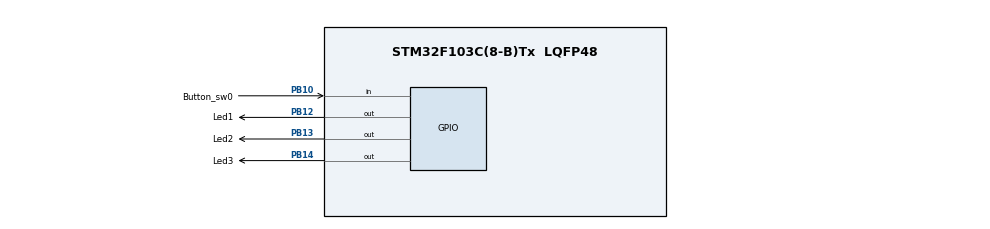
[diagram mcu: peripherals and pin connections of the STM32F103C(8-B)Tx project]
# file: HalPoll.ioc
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Mcu.Family=STM32F1
Mcu.Name=STM32F103C(8-B)Tx
Mcu.Package=LQFP48
NVIC.PriorityGroup=NVIC_PRIORITYGROUP_4
PA13.Mode=Serial_Wire
PA13.Signal=SYS_JTMS-SWDIO
PA14.Mode=Serial_Wire
PA14.Signal=SYS_JTCK-SWCLK
PB10.GPIO_Label=Button_sw0
PB10.GPIO_PuPd=GPIO_NOPULL
PB10.Signal=GPIO_Input
PB12.GPIO_Label=Led1
PB12.Signal=GPIO_Output
PB13.GPIO_Label=Led2
PB13.Signal=GPIO_Output
PB14.GPIO_Label=Led3
PB14.Signal=GPIO_Output
ProjectManager.HeapSize=0x200
ProjectManager.StackSize=0x400
ProjectManager.TargetToolchain=Makefile
RCC.APB1Freq_Value=8000000
RCC.APB2Freq_Value=8000000
board=custom

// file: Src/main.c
/* USER CODE BEGIN Header */
/**
  ******************************************************************************
  * @file           : main.c
  * @brief          : Main program body
  ******************************************************************************
  * @attention
  *
  * <h2><center>&copy; Copyright (c) 2020 STMicroelectronics.
  * All rights reserved.</center></h2>
  *
  * This software component is licensed by ST under BSD 3-Clause license,
  * the "License"; You may not use this file except in compliance with the
  * License. You may obtain a copy of the License at:
  *                        opensource.org/licenses/BSD-3-Clause
  *
  ******************************************************************************
  */
/* USER CODE END Header */

#include "main.h"

void SystemClock_Config(void);
static void MX_GPIO_Init(void);
/* USER CODE BEGIN PFP */
void setLed(int pin);
/* USER CODE END PFP */

int main(void)
{

  /* MCU Configuration--------------------------------------------------------*/

  /* Reset of all peripherals, Initializes the Flash interface and the Systick. */
  HAL_Init();

  /* Configure the system clock */
  SystemClock_Config();

  /* Initialize all configured peripherals */
  MX_GPIO_Init();

  int pinNum=0;
  /* Infinite loop */
  /* USER CODE BEGIN WHILE */
//  HAL_GPIO_WritePin(GPIOB, Led1_Pin|Led3_Pin, GPIO_PIN_RESET);
//  GPIOB->BRR |= Led1_Pin|Led2_Pin|Led3_Pin;
  while (1)
  {
   /* USER CODE END WHILE */
    int pinVal = HAL_GPIO_ReadPin(Button_sw0_GPIO_Port,Button_sw0_Pin);
    HAL_Delay(200);
    if (pinVal == 1 )
    {
      //Sleep a few msecs, quick and dirty debounce
      switch (pinNum)
      {
        case 0:
          setLed(0);
          pinNum++;
          HAL_Delay(200);
          break;
        case 1:
          setLed(1);
          pinNum++;
          HAL_Delay(200);
          break;
        case 2:
          setLed(2);
          pinNum++;
          HAL_Delay(200);
          break;
        case 3:
          setLed(3);
          pinNum=0;
          break;
        default:
          setLed(0);
          pinNum=0;
          break;
      }
    }
  }
}

void SystemClock_Config(void)
{
  RCC_OscInitTypeDef RCC_OscInitStruct = {0};
  RCC_ClkInitTypeDef RCC_ClkInitStruct = {0};

  /** Initializes the CPU, AHB and APB busses clocks
  */
  RCC_OscInitStruct.OscillatorType = RCC_OSCILLATORTYPE_HSI;
  RCC_OscInitStruct.HSIState = RCC_HSI_ON;
  RCC_OscInitStruct.HSICalibrationValue = RCC_HSICALIBRATION_DEFAULT;
  RCC_OscInitStruct.PLL.PLLState = RCC_PLL_NONE;
  if (HAL_RCC_OscConfig(&RCC_OscInitStruct) != HAL_OK)
  {
    Error_Handler();
  }
  /** Initializes the CPU, AHB and APB busses clocks
  */
  RCC_ClkInitStruct.ClockType = RCC_CLOCKTYPE_HCLK|RCC_CLOCKTYPE_SYSCLK
                              |RCC_CLOCKTYPE_PCLK1|RCC_CLOCKTYPE_PCLK2;
  RCC_ClkInitStruct.SYSCLKSource = RCC_SYSCLKSOURCE_HSI;
  RCC_ClkInitStruct.AHBCLKDivider = RCC_SYSCLK_DIV1;
  RCC_ClkInitStruct.APB1CLKDivider = RCC_HCLK_DIV1;
  RCC_ClkInitStruct.APB2CLKDivider = RCC_HCLK_DIV1;

  if (HAL_RCC_ClockConfig(&RCC_ClkInitStruct, FLASH_LATENCY_0) != HAL_OK)
  {
    Error_Handler();
  }
}

static void MX_GPIO_Init(void)
{
  GPIO_InitTypeDef GPIO_InitStruct = {0};

  /* GPIO Ports Clock Enable */
  __HAL_RCC_GPIOB_CLK_ENABLE();
  __HAL_RCC_GPIOA_CLK_ENABLE();

  /*Configure GPIO pin Output Level */
  HAL_GPIO_WritePin(GPIOB, Led1_Pin|Led3_Pin, GPIO_PIN_SET);
  HAL_GPIO_WritePin(GPIOB, Led2_Pin, GPIO_PIN_RESET);

  /*Configure GPIO pin : Button_sw0_Pin */
  GPIO_InitStruct.Pin = Button_sw0_Pin;
  GPIO_InitStruct.Mode = GPIO_MODE_INPUT;
  GPIO_InitStruct.Pull = GPIO_NOPULL;
  HAL_GPIO_Init(Button_sw0_GPIO_Port, &GPIO_InitStruct);

  /*Configure GPIO pins : Led1_Pin Led2_Pin Led3_Pin */
  GPIO_InitStruct.Pin = Led1_Pin|Led2_Pin|Led3_Pin;
  GPIO_InitStruct.Mode = GPIO_MODE_OUTPUT_PP;
  GPIO_InitStruct.Pull = GPIO_NOPULL;
  GPIO_InitStruct.Speed = GPIO_SPEED_FREQ_LOW;
  HAL_GPIO_Init(GPIOB, &GPIO_InitStruct);

}

/* USER CODE BEGIN 4 */
void setLed(int pin){
  if( pin == 0 ){
    HAL_GPIO_WritePin(GPIOB,Led1_Pin,GPIO_PIN_RESET);
    HAL_GPIO_WritePin(GPIOB,Led2_Pin,GPIO_PIN_RESET);
    HAL_GPIO_WritePin(GPIOB,Led3_Pin,GPIO_PIN_RESET);
  }
  else if( pin == 1 ){
    HAL_GPIO_WritePin(GPIOB,Led1_Pin,GPIO_PIN_SET);
    HAL_GPIO_WritePin(GPIOB,Led2_Pin,GPIO_PIN_RESET);
    HAL_GPIO_WritePin(GPIOB,Led3_Pin,GPIO_PIN_RESET);
  }
  else if( pin == 2 ){
    HAL_GPIO_WritePin(GPIOB,Led1_Pin,GPIO_PIN_RESET);
    HAL_GPIO_WritePin(GPIOB,Led2_Pin,GPIO_PIN_SET);
    HAL_GPIO_WritePin(GPIOB,Led3_Pin,GPIO_PIN_RESET);
  }
  else if( pin == 3 ){
    HAL_GPIO_WritePin(GPIOB,Led1_Pin,GPIO_PIN_RESET);
    HAL_GPIO_WritePin(GPIOB,Led2_Pin,GPIO_PIN_RESET);
    HAL_GPIO_WritePin(GPIOB,Led3_Pin,GPIO_PIN_SET);
  }
}
/* USER CODE END 4 */

void Error_Handler(void)
{
}

/************************ (C) COPYRIGHT STMicroelectronics *****END OF FILE****/
